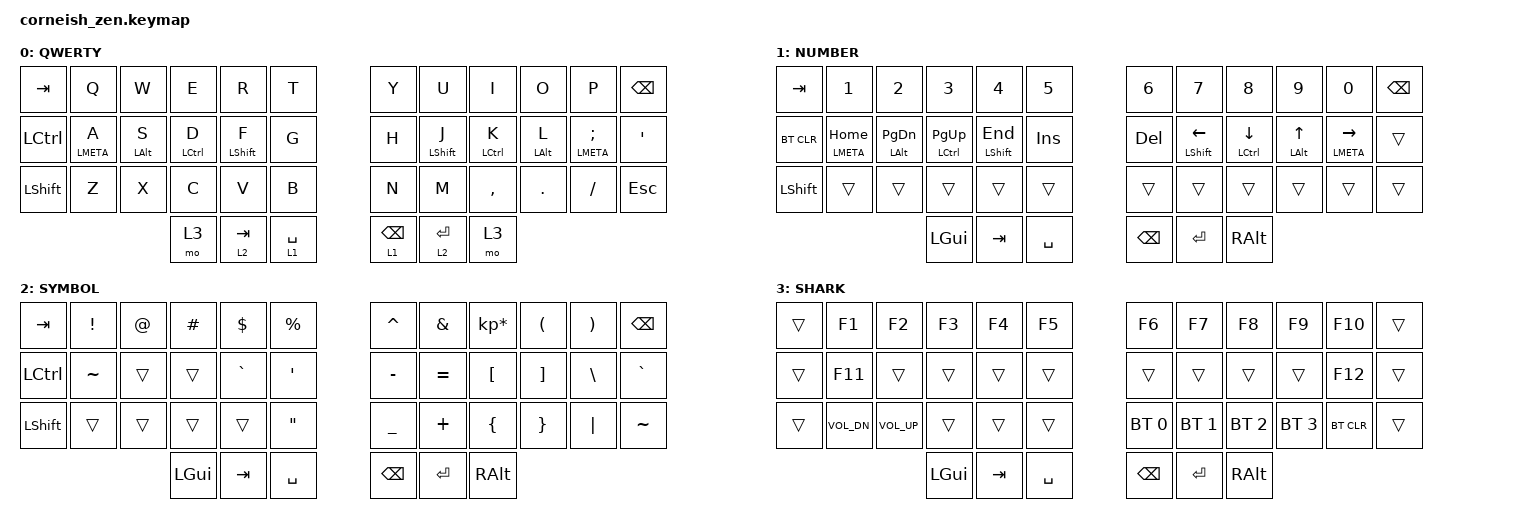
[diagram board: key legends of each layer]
#include <behaviors.dtsi>
#include <dt-bindings/zmk/keys.h>
#include <dt-bindings/zmk/bt.h>

#define MEDIA 3

/ {
  chosen {
    zmk,matrix_transform = &default_transform;
    //zmk,matrix_transform = &five_column_transform;
  };
};

&mt {
    flavor = "tap-preferred";
    tapping_term_ms = <175>;
};

/ {
    combos {
        compatible = "zmk,combos";

        combo_esc {
            timeout-ms = <50>;
            key-positions = <1 2>;
            bindings = <&kp ESC>;
        };
    
        combo_pscr {
            timeout-ms = <50>;
            key-positions = <9 10>;
            bindings = <&kp PSCRN>;
        }; 

    };
};

/ {
        keymap {
                compatible = "zmk,keymap";

                default_layer {
                        label = "QWERTY";
// -----------------------------------------------------------------------------------------
//       |  Q  |  W  |  E  |  R  |  T  |   |  Y   |  U   |  I  |  O  |  P  |
//       |  A  |  S  |  D  |  F  |  G  |   |  H   |  J   |  K  |  L  |  ;  |
//       |  Z  |  X  |  C  |  V  |  B  |   |  N   |  M   |  ,  |  .  |  /  |
//                   | GUI | TAB | SPC |   | BSPC | ENT  | MED |

                        bindings = <
   &kp TAB   &kp Q       &kp W       &kp E       &kp R        &kp T                        &kp Y &kp U            &kp I           &kp O         &kp P           &kp BSPC
   &kp LCTRL &mt LMETA A &mt LALT S  &mt LCTRL D &mt LSHIFT F &kp G                        &kp H &mt LSHIFT J     &mt LCTRL K     &mt LALT L    &mt LMETA SEMI  &kp SQT
   &kp LSHFT &kp Z       &kp X       &kp C       &kp V        &kp B                        &kp N &kp M            &kp COMMA       &kp DOT       &kp FSLH        &kp ESC
                              &mo 3      &lt 2 TAB      &lt 1 SPACE                        &lt 1 BSPC        &lt 2 RET       &mo 3
                        >;
                };

                lower_layer {
                        label = "NUMBER";
// -----------------------------------------------------------------------------------------
//       |  1   |   2   |   3   |   4   |  5  |   |  6   |  7  |  8  |  9  |  0  |
//       | HOME | PG_DN | PG_UP |  END  | INS |   | DEL  | LFT | DWN |  UP | RGT |
//       |      |       |       |       |     |   |      |     |     |     |     |
//                       | GUI  |  TAB  | SPC |   | BSPC | ENT | ALT |

                        bindings = <
   &kp TAB    &kp N1          &kp N2          &kp N3            &kp N4              &kp N5              &kp N6           &kp N7            &kp N8           &kp N9           &kp N0             &kp BSPC
   &bt BT_CLR &mt LMETA HOME  &mt LALT PG_DN  &mt LCTRL PG_UP   &mt LSHIFT END      &kp INS             &kp DEL          &mt LSHIFT LEFT   &mt LCTRL DOWN   &mt LALT UP      &mt LMETA RIGHT    &trans
   &kp LSHFT  &trans          &trans          &trans            &trans              &trans              &trans           &trans            &trans           &trans           &trans             &trans
                                              &kp LGUI          &kp TAB             &kp SPACE           &kp BSPC         &kp RET           &kp RALT
                        >;
                };

                raise_layer {
                        label = "SYMBOL";
// -----------------------------------------------------------------------------------------
//       |  !  |  @  |  #  |  $  |  %  |   |   ^   |  &  |  *  |  (  |  )  |
//       |  ~  |     |     |  `  |  '  |   |   -   |  =  |  [  |  ]  |  \  |
//       |     |     |     |     |  "  |   |   _   |  +  |  {  |  }  | "|" |
//                   | GUI | TAB | SPC |   |  BSPC | ENT | ALT |

                        bindings = <
   &kp  TAB  &kp EXCL    &kp AT &kp HASH    &kp DLLR    &kp PRCNT          &kp CARET   &kp AMPS  &kp KP_MULTIPLY &kp LPAR &kp RPAR &kp BSPC
   &kp LCTRL &kp TILDE   &trans &trans      &kp GRAVE   &kp SQT            &kp MINUS   &kp EQUAL &kp LBKT        &kp RBKT &kp BSLH &kp GRAVE
   &kp LSHFT &trans      &trans &trans      &trans      &kp DQT            &kp UNDER   &kp PLUS  &kp LBRC        &kp RBRC &kp PIPE &kp TILDE
                                &kp LGUI    &kp TAB     &kp SPACE          &kp BSPC    &kp RET   &kp RALT
                        >;
                };

                media_layer {
                        label = "SHARK";
// -----------------------------------------------------------------------------------------
//     |   F1   |   F2   |  F3  |  F4  |  F5  |   |  F6  |  F7  |   F8  |  F9  |   F10   |
//     |   F11  |        |      |      |      |   |      |      |       |      |   F12   |
//     | VOL_DN | VOL_UP |      |      |      |   |  BT1 |  BT2 |  BT3  |  BT4 |  BT_CLR |
//                       | GUI  | TAB  | SPC  |   | BSPC |  ENT |  ALT  |

                        bindings = <
   &trans        &kp F1       &kp F2         &kp F3       &kp F4       &kp F5               &kp F6         &kp F7         &kp F8        &kp F9           &kp F10      &trans
   &trans        &kp F11      &trans         &trans       &trans       &trans               &trans         &trans         &trans        &trans           &kp F12      &trans
   &trans        &kp C_VOL_DN  &kp C_VOL_UP  &trans       &trans       &trans               &bt BT_SEL 0   &bt BT_SEL 1   &bt BT_SEL 2  &bt BT_SEL 3     &bt BT_CLR   &trans
                                             &kp LGUI     &kp TAB      &kp SPACE            &kp BSPC       &kp RET        &kp RALT
                        >;
                };
        };
};
//
